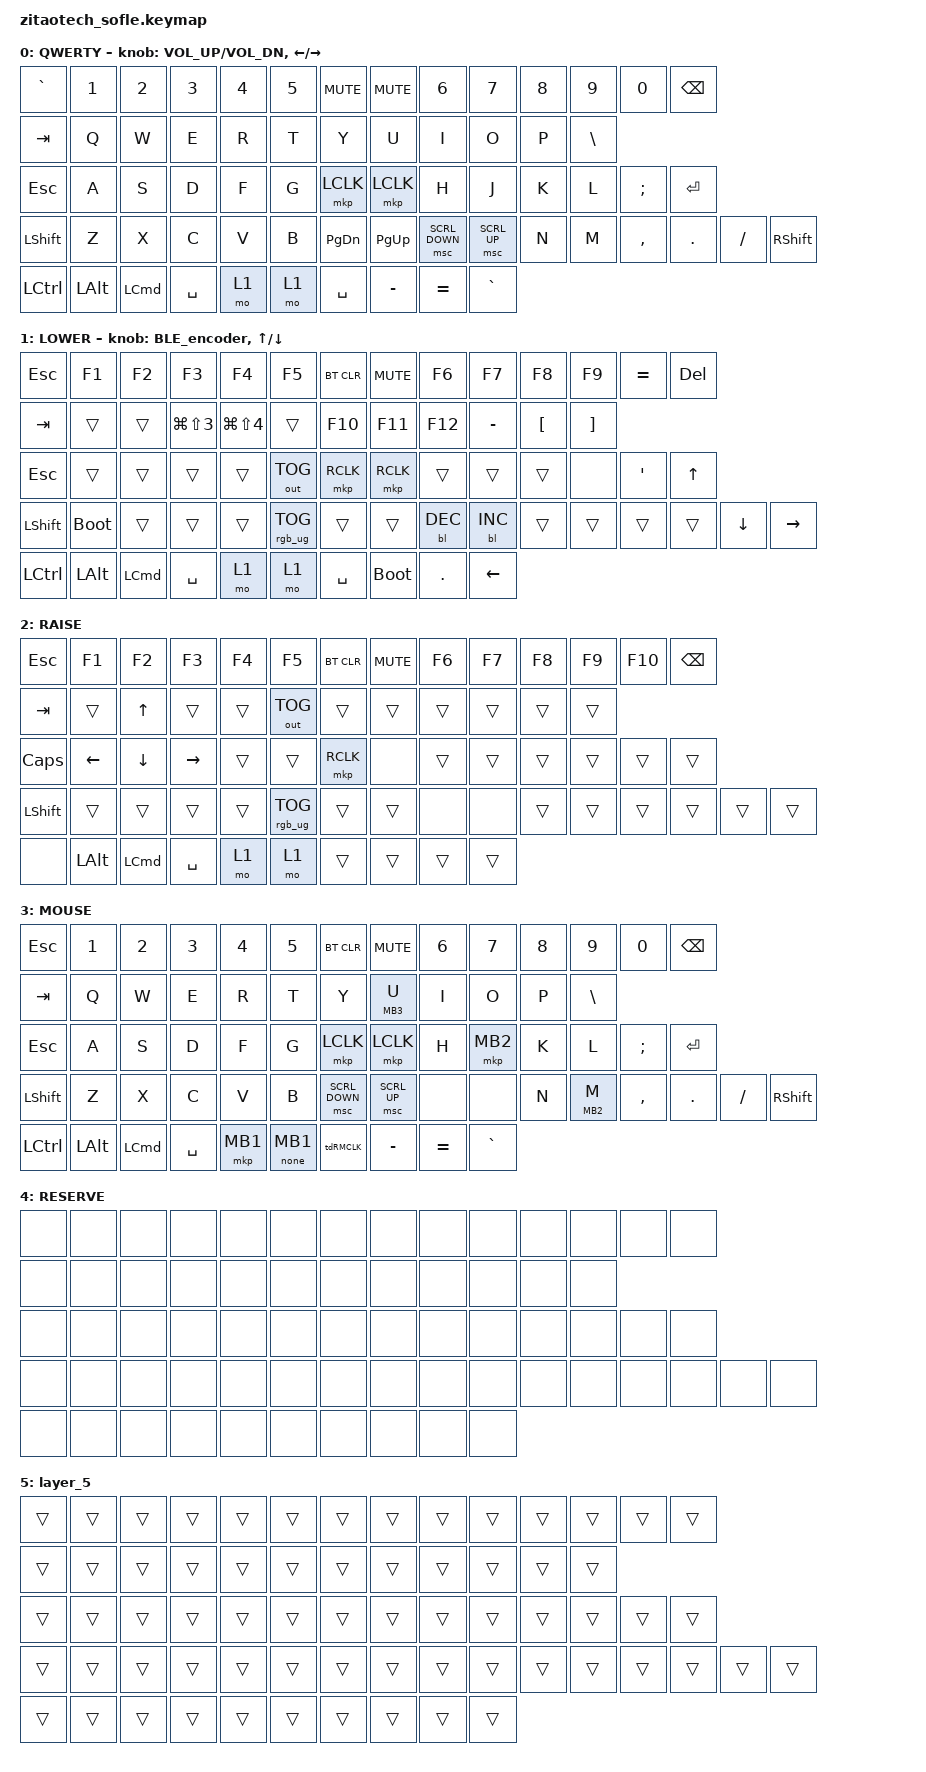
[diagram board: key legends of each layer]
/*
 * Copyright (c) 2025 ZitaoTech
 *
 * SPDX-License-Identifier: MIT
 */

#include <dt-bindings/zmk/mouse.h>
#include <behaviors.dtsi>
#include <dt-bindings/zmk/backlight.h>
#include <dt-bindings/zmk/bt.h>
#include <dt-bindings/zmk/keys.h>
#include <dt-bindings/zmk/outputs.h>
#include <dt-bindings/zmk/pointing.h>
#include <dt-bindings/zmk/rgb.h>

#define FUNC 1
#define RES 2

/ {
    input_processors {
        zip_temp_layer: zip_temp_layer {
            compatible = "zmk,input-processor-temp-layer";
            #input-processor-cells = <2>;
        };

        ip_behaviors0: ip_behaviors0 {
            compatible = "zmk,input-processor-behaviors";
            #input-processor-cells = <0>;
            type = <INPUT_EV_KEY>;
            codes = <INPUT_BTN_0>;
            bindings = <&kp RIGHT>;
        };

        ip_behaviors1: ip_behaviors1 {
            compatible = "zmk,input-processor-behaviors";
            #input-processor-cells = <0>;
            type = <INPUT_EV_KEY>;
            codes = <INPUT_BTN_1>;
            bindings = <&kp LEFT>;
        };

        ip_behaviors2: ip_behaviors2 {
            compatible = "zmk,input-processor-behaviors";
            #input-processor-cells = <0>;
            type = <INPUT_EV_KEY>;
            codes = <INPUT_BTN_2>;
            bindings = <&kp DOWN>;
        };

        ip_behaviors3: ip_behaviors3 {
            compatible = "zmk,input-processor-behaviors";
            #input-processor-cells = <0>;
            type = <INPUT_EV_KEY>;
            codes = <INPUT_BTN_3>;
            bindings = <&kp UP>;
        };
    };
};

/ {
    behaviors {
        td0: tap_dance_0 {
            compatible = "zmk,behavior-tap-dance";
            #binding-cells = <0>;
            tapping-term-ms = <400>;
            bindings = <&mkp LCLK>, <&bt BT_CLR>;
        };
    };

    behaviors {
        tdRMCLK: tap_dance_R_LMouse {
            compatible = "zmk,behavior-tap-dance";
            #binding-cells = <0>;
            tapping-term-ms = <400>;
            bindings = <&mkp RCLK>, <&mkp MCLK>;
        };
    };

    behaviors {
        hm: homerow_mods {
            compatible = "zmk,behavior-hold-tap";
            #binding-cells = <2>;
            tapping-term-ms = <500>;
            bindings = <&kp &kp>;
        };
    };

    behaviors {
        sp_sc: behavior_spacescroll {
            compatible = "zmk,behavior-hold-tap";
            #binding-cells = <2>;
            flavor = "tap-preferred";     /* 单击优先 */
            tapping-term-ms = <200>;       /* 长按阈值 */
            bindings = <&none &kp>;        /* hold=none, tap=space */
        };
    };

    behaviors {
        LMouse_sc: behavior_LMouse_Scroll {
            compatible = "zmk,behavior-hold-tap";
            #binding-cells = <2>;
            flavor = "tap-preferred";     /* 单击优先 */
            tapping-term-ms = <200>;       /* 长按阈值 */
            bindings = <&none &mkp>;        /* hold=none, tap=Lmouse */
        };
    };

    behaviors {
        M_kp: behavior_mouse_keypress {
            compatible = "zmk,behavior-hold-tap";
            #binding-cells = <2>;
            flavor = "tap-preferred";     /* 单击优先 */
            tapping-term-ms = <200>;       /* 长按阈值 */
            bindings = <&mkp &kp>;        /* hold=mou key press, tap=key*/
        };
    };

    behaviors {
        BLE_encoder: BLE_encoder {
            compatible = "zmk,behavior-sensor-rotate";
            #sensor-binding-cells = <0>;
            bindings = <&bt BT_NXT>, <&bt BT_PRV>;
        };
    };

    keymap {
        compatible = "zmk,keymap";

        default_layer {
            display-name = "QWERTY";
            bindings = <
&kp GRAVE   &kp N1        &kp N2            &kp N3     &kp N4  &kp N5  &kp C_MUTE  &kp C_MUTE  &kp N6          &kp N7        &kp N8  &kp N9    &kp N0     &kp BSPC
&kp TAB     &kp Q         &kp W             &kp E      &kp R   &kp T   &kp Y       &kp U       &kp I           &kp O         &kp P   &kp BSLH
&kp ESCAPE  &kp A         &kp S             &kp D      &kp F   &kp G   &mkp LCLK   &mkp LCLK   &kp H           &kp J         &kp K   &kp L     &kp SEMI   &kp ENTER
&kp LSHFT   &kp Z         &kp X             &kp C      &kp V   &kp B   &kp PG_DN   &kp PG_UP   &msc SCRL_DOWN  &msc SCRL_UP  &kp N   &kp M     &kp COMMA  &kp DOT    &kp FSLH  &kp RSHIFT
&kp LCTRL   &kp LEFT_ALT  &kp LEFT_COMMAND  &kp SPACE  &mo 1   &mo 1   &kp SPACE   &kp MINUS   &kp EQUAL       &kp GRAVE
            >;

            sensor-bindings = <&inc_dec_kp C_VOL_UP C_VOL_DN &inc_dec_kp LEFT RIGHT>;
        };

        lower_layer {
            display-name = "LOWER";
            bindings = <
&kp ESC     &kp F1        &kp F2            &kp F3          &kp F4          &kp F5           &bt BT_CLR  &kp C_MUTE   &kp F6      &kp F7          &kp F8            &kp F9             &kp EQUAL         &kp DEL
&kp TAB     &trans        &trans            &kp LG(LS(N3))  &kp LG(LS(N4))  &trans           &kp F10     &kp F11      &kp F12     &kp MINUS       &kp LEFT_BRACKET  &kp RIGHT_BRACKET
&kp ESCAPE  &trans        &trans            &trans          &trans          &out OUT_TOG     &mkp RCLK   &mkp RCLK    &trans      &trans          &trans            &none              &kp SINGLE_QUOTE  &kp UP_ARROW
&kp LSHFT   &bootloader   &trans            &trans          &trans          &rgb_ug RGB_TOG  &trans      &trans       &bl BL_DEC  &bl BL_INC      &trans            &trans             &trans            &trans        &kp DOWN_ARROW  &kp RIGHT_ARROW
&kp LCTRL   &kp LEFT_ALT  &kp LEFT_COMMAND  &kp SPACE       &mo 1           &mo 1            &kp SPACE   &bootloader  &kp DOT     &kp LEFT_ARROW
            >;

            sensor-bindings = <&BLE_encoder &inc_dec_kp UP DOWN>;
        };

        raise_layer {
            display-name = "RAISE";
            bindings = <
&kp ESC    &kp F1        &kp F2            &kp F3     &kp F4  &kp F5           &bt BT_CLR  &kp C_MUTE  &kp F6  &kp F7  &kp F8  &kp F9  &kp F10  &kp BSPC
&kp TAB    &trans        &kp UP            &trans     &trans  &out OUT_TOG     &trans      &trans      &trans  &trans  &trans  &trans
&kp CAPS   &kp LEFT      &kp DOWN          &kp RIGHT  &trans  &trans           &mkp RCLK   &none       &trans  &trans  &trans  &trans  &trans   &trans
&kp LSHFT  &trans        &trans            &trans     &trans  &rgb_ug RGB_TOG  &trans      &trans      &none   &none   &trans  &trans  &trans   &trans    &trans  &trans
&none      &kp LEFT_ALT  &kp LEFT_COMMAND  &kp SPACE  &mo 1   &mo 1            &trans      &trans      &trans  &trans
            >;
        };

        MOUSE_layer {
            display-name = "MOUSE";
            bindings = <
&kp ESC     &kp N1        &kp N2            &kp N3     &kp N4    &kp N5            &bt BT_CLR      &kp C_MUTE    &kp N6     &kp N7     &kp N8  &kp N9       &kp N0     &kp BSPC
&kp TAB     &kp Q         &kp W             &kp E      &kp R     &kp T             &kp Y           &M_kp MB3 U   &kp I      &kp O      &kp P   &kp BSLH
&kp ESCAPE  &kp A         &kp S             &kp D      &kp F     &kp G             &mkp LCLK       &mkp LCLK     &kp H      &mkp MB2   &kp K   &kp L        &kp SEMI   &kp ENTER
&kp LSHFT   &kp Z         &kp X             &kp C      &kp V     &kp B             &msc SCRL_DOWN  &msc SCRL_UP  &none      &none      &kp N   &M_kp MB2 M  &kp COMMA  &kp DOT    &kp FSLH  &kp RSHIFT
&kp LCTRL   &kp LEFT_ALT  &kp LEFT_COMMAND  &kp SPACE  &mkp MB1  &LMouse_sc 0 MB1  &tdRMCLK        &kp MINUS     &kp EQUAL  &kp GRAVE
            >;
        };

        RES_layer {
            display-name = "RESERVE";
            bindings = <
&none  &none  &none  &none  &none  &none  &none  &none  &none  &none  &none  &none  &none  &none
&none  &none  &none  &none  &none  &none  &none  &none  &none  &none  &none  &none
&none  &none  &none  &none  &none  &none  &none  &none  &none  &none  &none  &none  &none  &none
&none  &none  &none  &none  &none  &none  &none  &none  &none  &none  &none  &none  &none  &none  &none  &none
&none  &none  &none  &none  &none  &none  &none  &none  &none  &none
            >;
        };

        layer_5 {
            bindings = <
&trans  &trans  &trans  &trans  &trans  &trans  &trans  &trans  &trans  &trans  &trans  &trans  &trans  &trans
&trans  &trans  &trans  &trans  &trans  &trans  &trans  &trans  &trans  &trans  &trans  &trans
&trans  &trans  &trans  &trans  &trans  &trans  &trans  &trans  &trans  &trans  &trans  &trans  &trans  &trans
&trans  &trans  &trans  &trans  &trans  &trans  &trans  &trans  &trans  &trans  &trans  &trans  &trans  &trans  &trans  &trans
&trans  &trans  &trans  &trans  &trans  &trans  &trans  &trans  &trans  &trans
            >;
        };
    };
};
